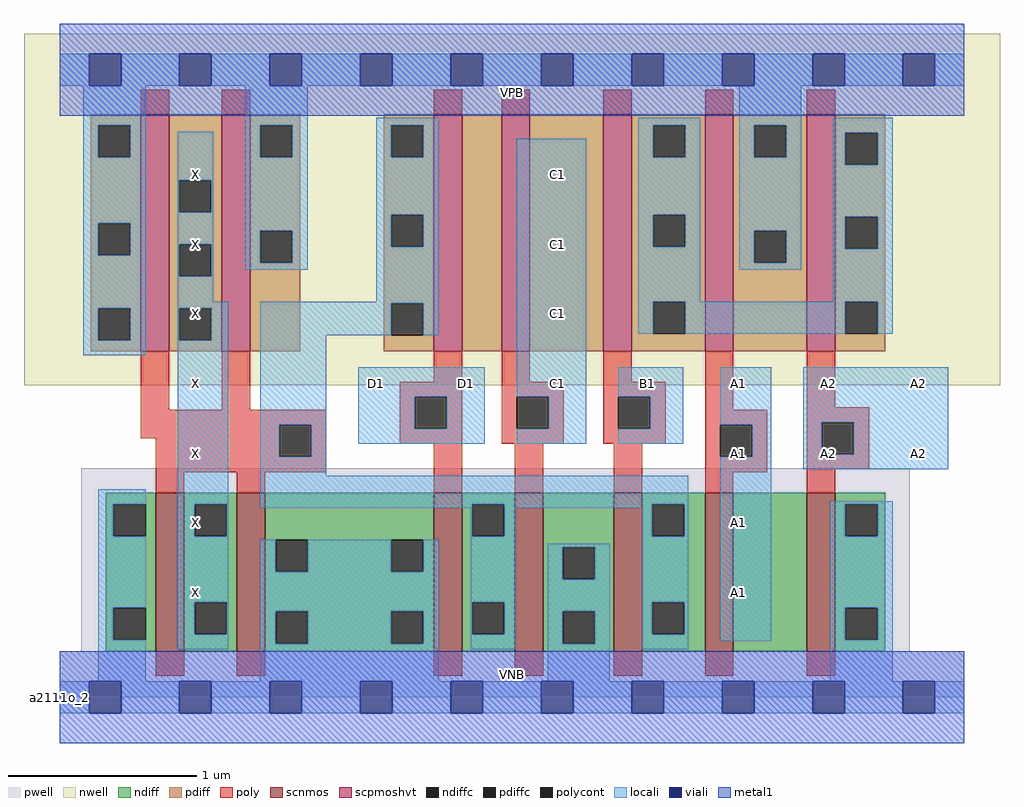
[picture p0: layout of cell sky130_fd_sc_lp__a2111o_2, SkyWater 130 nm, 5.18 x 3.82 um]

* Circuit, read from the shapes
.subckt sky130_fd_sc_lp__a2111o_2 A1 A2 B1 C1 D1 VGND VNB VPB VPWR X
XM1 X n1 VGND VNB sky130_fd_pr__nfet_01v8 w=0.84 l=0.15 m=2
XM2 n1 D1 VGND VNB sky130_fd_pr__nfet_01v8 w=0.84 l=0.15
XM3 VGND C1 n1 VNB sky130_fd_pr__nfet_01v8 w=0.84 l=0.15
XM4 n1 B1 VGND VNB sky130_fd_pr__nfet_01v8 w=0.84 l=0.15
XM5 n2 A1 n1 VNB sky130_fd_pr__nfet_01v8 w=0.84 l=0.15
XM6 VGND A2 n2 VNB sky130_fd_pr__nfet_01v8 w=0.84 l=0.15
XM7 X n1 VPWR VPB sky130_fd_pr__pfet_01v8_hvt w=1.26 l=0.15 m=2
XM8 n3 D1 n1 VPB sky130_fd_pr__pfet_01v8_hvt w=1.26 l=0.15
XM9 n4 C1 n3 VPB sky130_fd_pr__pfet_01v8_hvt w=1.26 l=0.15
XM10 n5 B1 n4 VPB sky130_fd_pr__pfet_01v8_hvt w=1.26 l=0.15
XM11 VPWR A1 n5 VPB sky130_fd_pr__pfet_01v8_hvt w=1.26 l=0.15
XM12 n5 A2 VPWR VPB sky130_fd_pr__pfet_01v8_hvt w=1.26 l=0.15
.ends

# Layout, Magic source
magic
tech sky130A
magscale 1 2
<< nwell >>
rect -38 331 998 704
<< pwell >>
rect 23 49 902 243
rect 0 0 960 49
<< scnmos >>
rect 102 49 132 217
rect 188 49 218 217
rect 397 49 427 217
rect 483 49 513 217
rect 588 49 618 217
rect 685 49 715 217
rect 793 49 823 217
<< scpmoshvt >>
rect 86 367 116 619
rect 172 367 202 619
rect 397 367 427 619
rect 469 367 499 619
rect 577 367 607 619
rect 685 367 715 619
rect 793 367 823 619
<< ndiff >>
rect 49 205 102 217
rect 49 171 57 205
rect 91 171 102 205
rect 49 95 102 171
rect 49 61 57 95
rect 91 61 102 95
rect 49 49 102 61
rect 132 205 188 217
rect 132 171 143 205
rect 177 171 188 205
rect 132 101 188 171
rect 132 67 143 101
rect 177 67 188 101
rect 132 49 188 67
rect 218 167 397 217
rect 218 133 229 167
rect 263 133 352 167
rect 386 133 397 167
rect 218 91 397 133
rect 218 57 229 91
rect 263 57 352 91
rect 386 57 397 91
rect 218 49 397 57
rect 427 205 483 217
rect 427 171 438 205
rect 472 171 483 205
rect 427 101 483 171
rect 427 67 438 101
rect 472 67 483 101
rect 427 49 483 67
rect 513 159 588 217
rect 513 125 534 159
rect 568 125 588 159
rect 513 91 588 125
rect 513 57 534 91
rect 568 57 588 91
rect 513 49 588 57
rect 618 205 685 217
rect 618 171 629 205
rect 663 171 685 205
rect 618 101 685 171
rect 618 67 629 101
rect 663 67 685 101
rect 618 49 685 67
rect 715 49 793 217
rect 823 205 876 217
rect 823 171 834 205
rect 868 171 876 205
rect 823 95 876 171
rect 823 61 834 95
rect 868 61 876 95
rect 823 49 876 61
<< pdiff >>
rect 33 607 86 619
rect 33 573 41 607
rect 75 573 86 607
rect 33 503 86 573
rect 33 469 41 503
rect 75 469 86 503
rect 33 413 86 469
rect 33 379 41 413
rect 75 379 86 413
rect 33 367 86 379
rect 116 549 172 619
rect 116 515 127 549
rect 161 515 172 549
rect 116 481 172 515
rect 116 447 127 481
rect 161 447 172 481
rect 116 413 172 447
rect 116 379 127 413
rect 161 379 172 413
rect 116 367 172 379
rect 202 607 255 619
rect 202 573 213 607
rect 247 573 255 607
rect 202 495 255 573
rect 202 461 213 495
rect 247 461 255 495
rect 202 367 255 461
rect 344 607 397 619
rect 344 573 352 607
rect 386 573 397 607
rect 344 512 397 573
rect 344 478 352 512
rect 386 478 397 512
rect 344 418 397 478
rect 344 384 352 418
rect 386 384 397 418
rect 344 367 397 384
rect 427 367 469 619
rect 499 367 577 619
rect 607 607 685 619
rect 607 573 630 607
rect 664 573 685 607
rect 607 512 685 573
rect 607 478 630 512
rect 664 478 685 512
rect 607 420 685 478
rect 607 386 630 420
rect 664 386 685 420
rect 607 367 685 386
rect 715 607 793 619
rect 715 573 737 607
rect 771 573 793 607
rect 715 495 793 573
rect 715 461 737 495
rect 771 461 793 495
rect 715 367 793 461
rect 823 599 876 619
rect 823 565 834 599
rect 868 565 876 599
rect 823 510 876 565
rect 823 476 834 510
rect 868 476 876 510
rect 823 420 876 476
rect 823 386 834 420
rect 868 386 876 420
rect 823 367 876 386
<< ndiffc >>
rect 57 171 91 205
rect 57 61 91 95
rect 143 171 177 205
rect 143 67 177 101
rect 229 133 263 167
rect 352 133 386 167
rect 229 57 263 91
rect 352 57 386 91
rect 438 171 472 205
rect 438 67 472 101
rect 534 125 568 159
rect 534 57 568 91
rect 629 171 663 205
rect 629 67 663 101
rect 834 171 868 205
rect 834 61 868 95
<< pdiffc >>
rect 41 573 75 607
rect 41 469 75 503
rect 41 379 75 413
rect 127 515 161 549
rect 127 447 161 481
rect 127 379 161 413
rect 213 573 247 607
rect 213 461 247 495
rect 352 573 386 607
rect 352 478 386 512
rect 352 384 386 418
rect 630 573 664 607
rect 630 478 664 512
rect 630 386 664 420
rect 737 573 771 607
rect 737 461 771 495
rect 834 565 868 599
rect 834 476 868 510
rect 834 386 868 420
<< poly >>
rect 86 619 116 645
rect 172 619 202 645
rect 397 619 427 645
rect 469 619 499 645
rect 577 619 607 645
rect 685 619 715 645
rect 793 619 823 645
rect 86 305 116 367
rect 172 305 202 367
rect 397 335 427 367
rect 361 319 427 335
rect 86 289 283 305
rect 86 275 233 289
rect 102 255 233 275
rect 267 255 283 289
rect 361 285 377 319
rect 411 285 427 319
rect 361 269 427 285
rect 469 335 499 367
rect 577 335 607 367
rect 469 319 535 335
rect 469 285 485 319
rect 519 285 535 319
rect 469 269 535 285
rect 577 319 643 335
rect 577 285 593 319
rect 627 285 643 319
rect 577 269 643 285
rect 685 305 715 367
rect 793 308 823 367
rect 685 289 751 305
rect 102 239 283 255
rect 102 217 132 239
rect 188 217 218 239
rect 397 217 427 269
rect 483 217 513 269
rect 588 217 618 269
rect 685 255 701 289
rect 735 255 751 289
rect 685 239 751 255
rect 793 292 859 308
rect 793 258 809 292
rect 843 258 859 292
rect 793 242 859 258
rect 685 217 715 239
rect 793 217 823 242
rect 102 23 132 49
rect 188 23 218 49
rect 397 23 427 49
rect 483 23 513 49
rect 588 23 618 49
rect 685 23 715 49
rect 793 23 823 49
<< polycont >>
rect 233 255 267 289
rect 377 285 411 319
rect 485 285 519 319
rect 593 285 627 319
rect 701 255 735 289
rect 809 258 843 292
<< locali >>
rect 0 649 31 683
rect 65 649 127 683
rect 161 649 223 683
rect 257 649 319 683
rect 353 649 415 683
rect 449 649 511 683
rect 545 649 607 683
rect 641 649 703 683
rect 737 649 799 683
rect 833 649 895 683
rect 929 649 960 683
rect 25 607 91 649
rect 25 573 41 607
rect 75 573 91 607
rect 197 607 263 649
rect 25 503 91 573
rect 25 469 41 503
rect 75 469 91 503
rect 25 413 91 469
rect 25 379 41 413
rect 75 379 91 413
rect 25 363 91 379
rect 125 549 163 600
rect 125 515 127 549
rect 161 515 163 549
rect 125 481 163 515
rect 125 447 127 481
rect 161 447 163 481
rect 197 573 213 607
rect 247 573 263 607
rect 197 495 263 573
rect 197 461 213 495
rect 247 461 263 495
rect 197 454 263 461
rect 336 607 402 615
rect 336 573 352 607
rect 386 573 402 607
rect 614 607 680 615
rect 336 512 402 573
rect 336 478 352 512
rect 386 478 402 512
rect 125 420 163 447
rect 336 420 402 478
rect 125 413 179 420
rect 125 379 127 413
rect 161 379 179 413
rect 41 205 91 221
rect 41 171 57 205
rect 41 95 91 171
rect 41 61 57 95
rect 41 17 91 61
rect 125 205 179 379
rect 125 171 143 205
rect 177 171 179 205
rect 213 418 402 420
rect 213 384 352 418
rect 386 384 402 418
rect 213 289 283 384
rect 213 255 233 289
rect 267 255 283 289
rect 317 319 451 350
rect 317 285 377 319
rect 411 285 451 319
rect 317 269 451 285
rect 485 319 559 593
rect 614 573 630 607
rect 664 573 680 607
rect 614 512 680 573
rect 614 478 630 512
rect 664 478 680 512
rect 614 420 680 478
rect 721 607 787 649
rect 721 573 737 607
rect 771 573 787 607
rect 721 495 787 573
rect 721 461 737 495
rect 771 461 787 495
rect 721 454 787 461
rect 821 599 884 615
rect 821 565 834 599
rect 868 565 884 599
rect 821 510 884 565
rect 821 476 834 510
rect 868 476 884 510
rect 821 420 884 476
rect 614 386 630 420
rect 664 386 834 420
rect 868 386 884 420
rect 519 285 559 319
rect 485 269 559 285
rect 593 319 662 350
rect 627 285 662 319
rect 593 269 662 285
rect 701 289 755 350
rect 213 235 283 255
rect 735 255 755 289
rect 213 205 667 235
rect 213 201 438 205
rect 125 101 179 171
rect 436 171 438 201
rect 472 201 629 205
rect 472 171 484 201
rect 125 67 143 101
rect 177 67 179 101
rect 125 51 179 67
rect 213 133 229 167
rect 263 133 352 167
rect 386 133 402 167
rect 213 91 402 133
rect 213 57 229 91
rect 263 57 352 91
rect 386 57 402 91
rect 213 17 402 57
rect 436 101 484 171
rect 618 171 629 201
rect 663 171 667 205
rect 436 67 438 101
rect 472 67 484 101
rect 436 51 484 67
rect 518 159 584 163
rect 518 125 534 159
rect 568 125 584 159
rect 518 91 584 125
rect 518 57 534 91
rect 568 57 584 91
rect 518 17 584 57
rect 618 101 667 171
rect 618 67 629 101
rect 663 67 667 101
rect 618 51 667 67
rect 701 60 755 255
rect 789 292 943 350
rect 789 258 809 292
rect 843 258 943 292
rect 789 242 943 258
rect 818 205 884 208
rect 818 171 834 205
rect 868 171 884 205
rect 818 95 884 171
rect 818 61 834 95
rect 868 61 884 95
rect 818 17 884 61
rect 0 -17 31 17
rect 65 -17 127 17
rect 161 -17 223 17
rect 257 -17 319 17
rect 353 -17 415 17
rect 449 -17 511 17
rect 545 -17 607 17
rect 641 -17 703 17
rect 737 -17 799 17
rect 833 -17 895 17
rect 929 -17 960 17
<< viali >>
rect 31 649 65 683
rect 127 649 161 683
rect 223 649 257 683
rect 319 649 353 683
rect 415 649 449 683
rect 511 649 545 683
rect 607 649 641 683
rect 703 649 737 683
rect 799 649 833 683
rect 895 649 929 683
rect 31 -17 65 17
rect 127 -17 161 17
rect 223 -17 257 17
rect 319 -17 353 17
rect 415 -17 449 17
rect 511 -17 545 17
rect 607 -17 641 17
rect 703 -17 737 17
rect 799 -17 833 17
rect 895 -17 929 17
<< metal1 >>
rect 0 683 960 715
rect 0 649 31 683
rect 65 649 127 683
rect 161 649 223 683
rect 257 649 319 683
rect 353 649 415 683
rect 449 649 511 683
rect 545 649 607 683
rect 641 649 703 683
rect 737 649 799 683
rect 833 649 895 683
rect 929 649 960 683
rect 0 617 960 649
rect 0 17 960 49
rect 0 -17 31 17
rect 65 -17 127 17
rect 161 -17 223 17
rect 257 -17 319 17
rect 353 -17 415 17
rect 449 -17 511 17
rect 545 -17 607 17
rect 641 -17 703 17
rect 737 -17 799 17
rect 833 -17 895 17
rect 929 -17 960 17
rect 0 -49 960 -17
<< labels >>
flabel pwell s 0 0 960 49 0 FreeSans 200 0 0 0 VNB
port 7 nsew ground bidirectional
flabel nwell s 0 617 960 666 0 FreeSans 200 0 0 0 VPB
port 8 nsew power bidirectional
rlabel comment s 0 0 0 0 4 a2111o_2
flabel metal1 s 0 617 960 666 0 FreeSans 340 0 0 0 VPWR
port 9 nsew power bidirectional
flabel metal1 s 0 0 960 49 0 FreeSans 340 0 0 0 VGND
port 6 nsew ground bidirectional
flabel locali s 127 94 161 128 0 FreeSans 340 0 0 0 X
port 10 nsew signal output
flabel locali s 127 168 161 202 0 FreeSans 340 0 0 0 X
port 10 nsew signal output
flabel locali s 127 242 161 276 0 FreeSans 340 0 0 0 X
port 10 nsew signal output
flabel locali s 127 316 161 350 0 FreeSans 340 0 0 0 X
port 10 nsew signal output
flabel locali s 127 390 161 424 0 FreeSans 340 0 0 0 X
port 10 nsew signal output
flabel locali s 127 464 161 498 0 FreeSans 340 0 0 0 X
port 10 nsew signal output
flabel locali s 127 538 161 572 0 FreeSans 340 0 0 0 X
port 10 nsew signal output
flabel locali s 703 94 737 128 0 FreeSans 340 0 0 0 A1
port 1 nsew signal input
flabel locali s 703 168 737 202 0 FreeSans 340 0 0 0 A1
port 1 nsew signal input
flabel locali s 703 242 737 276 0 FreeSans 340 0 0 0 A1
port 1 nsew signal input
flabel locali s 703 316 737 350 0 FreeSans 340 0 0 0 A1
port 1 nsew signal input
flabel locali s 799 242 833 276 0 FreeSans 340 0 0 0 A2
port 2 nsew signal input
flabel locali s 799 316 833 350 0 FreeSans 340 0 0 0 A2
port 2 nsew signal input
flabel locali s 895 242 929 276 0 FreeSans 340 0 0 0 A2
port 2 nsew signal input
flabel locali s 895 316 929 350 0 FreeSans 340 0 0 0 A2
port 2 nsew signal input
flabel locali s 607 316 641 350 0 FreeSans 340 0 0 0 B1
port 3 nsew signal input
flabel locali s 511 316 545 350 0 FreeSans 340 0 0 0 C1
port 4 nsew signal input
flabel locali s 511 390 545 424 0 FreeSans 340 0 0 0 C1
port 4 nsew signal input
flabel locali s 511 464 545 498 0 FreeSans 340 0 0 0 C1
port 4 nsew signal input
flabel locali s 511 538 545 572 0 FreeSans 340 0 0 0 C1
port 4 nsew signal input
flabel locali s 319 316 353 350 0 FreeSans 340 0 0 0 D1
port 5 nsew signal input
flabel locali s 415 316 449 350 0 FreeSans 340 0 0 0 D1
port 5 nsew signal input
<< properties >>
string LEFsite unit
string LEFclass CORE
string FIXED_BBOX 0 0 960 666
string GDS_FILE $PDKPATH/libs.ref/sky130_fd_sc_lp/gds/sky130_fd_sc_lp.gds
string LEFsymmetry X Y R90
string GDS_END 1105266
string GDS_START 1095408
<< end >>
